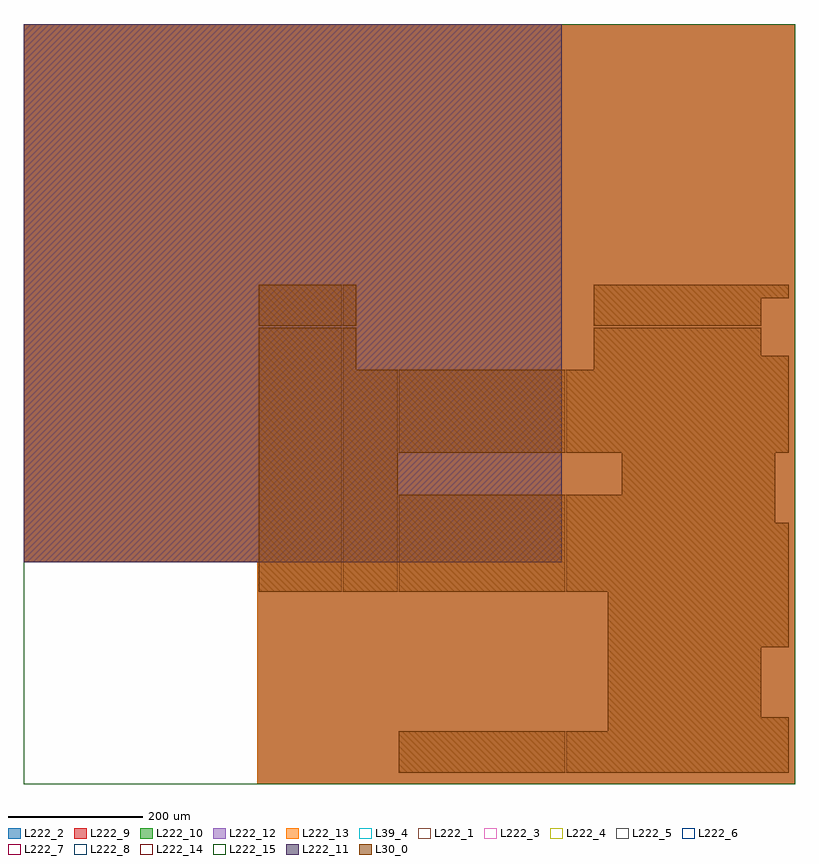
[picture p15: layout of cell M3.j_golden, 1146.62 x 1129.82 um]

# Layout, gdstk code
import gdstk
lib = gdstk.Library(unit=1e-6, precision=1e-09)
def R(c, l, rs):  # rectangles x0, y0, x1, y1
    for r in rs: c.add(gdstk.rectangle(r[:2], r[2:], *l))
L30_0 = (30, 0)
L39_4 = (39, 4)
L222_1 = (222, 1)
L222_2 = (222, 2)
L222_3 = (222, 3)
L222_4 = (222, 4)
L222_5 = (222, 5)
L222_6 = (222, 6)
L222_7 = (222, 7)
L222_8 = (222, 8)
L222_9 = (222, 9)
L222_10 = (222, 10)
L222_11 = (222, 11)
L222_12 = (222, 12)
L222_13 = (222, 13)
L222_14 = (222, 14)
L222_15 = (222, 15)

m3_j_golden = lib.new_cell('M3.j_golden')
R(m3_j_golden, L30_0, [(556.97,16.93,576.97,36.93), (577.6,16.93,597.6,36.93), (598.34,16.93,618.34,36.93), (618.97,16.93,638.97,36.93), (640.07,16.93,660.07,36.93), (660.7,16.93,680.7,36.93), (681.38,16.93,701.38,36.93), (702.01,16.93,722.01,36.93), (723.11,16.93,743.11,36.93), (743.74,16.93,763.74,36.93), (764.48,16.93,784.48,36.93), (785.11,16.93,805.11,36.93), (806.21,16.93,826.21,36.93), (826.84,16.93,846.84,36.93), (847.45,16.93,867.45,36.93), (868.08,16.93,888.08,36.93), (889.18,16.93,909.18,36.93), (909.81,16.93,929.81,36.93), (930.55,16.93,950.55,36.93), (951.18,16.93,971.18,36.93), (972.28,16.93,992.28,36.93), (992.91,16.93,1012.91,36.93), (1013.62,16.93,1033.62,36.93), (1034.25,16.93,1054.25,36.93), (1055.35,16.93,1075.35,36.93), (1075.98,16.93,1095.98,36.93), (1096.72,16.93,1116.72,36.93), (1117.35,16.93,1137.35,36.93), (556.97,37.65,576.97,57.65), (577.6,37.65,597.6,57.65), (598.34,37.65,618.34,57.65), (618.97,37.65,638.97,57.65), (640.07,37.65,660.07,57.65), (660.7,37.65,680.7,57.65), (681.38,37.65,701.38,57.65), (702.01,37.65,722.01,57.65), (723.11,37.65,743.11,57.65), (743.74,37.65,763.74,57.65), (764.48,37.65,784.48,57.65), (785.11,37.65,805.11,57.65), (806.21,37.65,826.21,57.65), (826.84,37.65,846.84,57.65), (847.45,37.65,867.45,57.65), (868.08,37.65,888.08,57.65), (889.18,37.65,909.18,57.65), (909.81,37.65,929.81,57.65), (930.55,37.65,950.55,57.65), (951.18,37.65,971.18,57.65), (972.28,37.65,992.28,57.65), (992.91,37.65,1012.91,57.65), (1013.62,37.65,1033.62,57.65), (1034.25,37.65,1054.25,57.65), (1055.35,37.65,1075.35,57.65), (1075.98,37.65,1095.98,57.65), (1096.72,37.65,1116.72,57.65), (1117.35,37.65,1137.35,57.65), (556.97,58.28,576.97,78.28), (577.6,58.28,597.6,78.28), (598.34,58.28,618.34,78.28), (618.97,58.28,638.97,78.28), (640.07,58.28,660.07,78.28), (660.7,58.28,680.7,78.28), (681.38,58.28,701.38,78.28), (702.01,58.28,722.01,78.28), (723.11,58.28,743.11,78.28), (743.74,58.28,763.74,78.28), (764.48,58.28,784.48,78.28), (785.11,58.28,805.11,78.28), (806.21,58.28,826.21,78.28), (826.84,58.28,846.84,78.28), (847.45,58.28,867.45,78.28), (868.08,58.28,888.08,78.28), (889.18,58.28,909.18,78.28), (909.81,58.28,929.81,78.28), (930.55,58.28,950.55,78.28), (951.18,58.28,971.18,78.28), (972.28,58.28,992.28,78.28), (992.91,58.28,1012.91,78.28), (1013.62,58.28,1033.62,78.28), (1034.25,58.28,1054.25,78.28), (1055.35,58.28,1075.35,78.28), (1075.98,58.28,1095.98,78.28), (1096.72,58.28,1116.72,78.28), (1117.35,58.28,1137.35,78.28), (868.08,79,888.08,99), (889.18,79,909.18,99), (909.81,79,929.81,99), (930.55,79,950.55,99), (951.18,79,971.18,99), (972.28,79,992.28,99), (992.91,79,1012.91,99), (1013.62,79,1033.62,99), (1034.25,79,1054.25,99), (1055.35,79,1075.35,99), (1075.98,79,1095.98,99), (1096.72,79,1116.72,99), (1117.35,79,1137.35,99), (868.08,99.71,888.08,119.71), (889.18,99.71,909.18,119.71), (909.81,99.71,929.81,119.71), (930.55,99.71,950.55,119.71), (951.18,99.71,971.18,119.71), (972.28,99.71,992.28,119.71), (992.91,99.71,1012.91,119.71), (1013.62,99.71,1033.62,119.71), (1034.25,99.71,1054.25,119.71), (1055.35,99.71,1075.35,119.71), (1075.98,99.71,1095.98,119.71), (868.08,120.43,888.08,140.43), (889.18,120.43,909.18,140.43), (909.81,120.43,929.81,140.43), (930.55,120.43,950.55,140.43), (951.18,120.43,971.18,140.43), (972.28,120.43,992.28,140.43), (992.91,120.43,1012.91,140.43), (1013.62,120.43,1033.62,140.43), (1034.25,120.43,1054.25,140.43), (1055.35,120.43,1075.35,140.43), (1075.98,120.43,1095.98,140.43), (868.08,141.06,888.08,161.06), (889.18,141.06,909.18,161.06), (909.81,141.06,929.81,161.06), (930.55,141.06,950.55,161.06), (951.18,141.06,971.18,161.06), (972.28,141.06,992.28,161.06), (992.91,141.06,1012.91,161.06), (1013.62,141.06,1033.62,161.06), (1034.25,141.06,1054.25,161.06), (1055.35,141.06,1075.35,161.06), (1075.98,141.06,1095.98,161.06), (868.08,161.78,888.08,181.78), (889.18,161.78,909.18,181.78), (909.81,161.78,929.81,181.78), (930.55,161.78,950.55,181.78), (951.18,161.78,971.18,181.78), (972.28,161.78,992.28,181.78), (992.91,161.78,1012.91,181.78), (1013.62,161.78,1033.62,181.78), (1034.25,161.78,1054.25,181.78), (1055.35,161.78,1075.35,181.78), (1075.98,161.78,1095.98,181.78), (868.08,182.39,888.08,202.39), (889.18,182.39,909.18,202.39), (909.81,182.39,929.81,202.39), (930.55,182.39,950.55,202.39), (951.18,182.39,971.18,202.39), (972.28,182.39,992.28,202.39), (992.91,182.39,1012.91,202.39), (1013.62,182.39,1033.62,202.39), (1034.25,182.39,1054.25,202.39), (1055.35,182.39,1075.35,202.39), (1075.98,182.39,1095.98,202.39), (868.08,203.11,888.08,223.11), (889.18,203.11,909.18,223.11), (909.81,203.11,929.81,223.11), (930.55,203.11,950.55,223.11), (951.18,203.11,971.18,223.11), (972.28,203.11,992.28,223.11), (992.91,203.11,1012.91,223.11), (1013.62,203.11,1033.62,223.11), (1034.25,203.11,1054.25,223.11), (1055.35,203.11,1075.35,223.11), (1075.98,203.11,1095.98,223.11), (1096.72,203.11,1116.72,223.11), (1117.35,203.11,1137.35,223.11), (868.08,223.74,888.08,243.74), (889.18,223.74,909.18,243.74), (909.81,223.74,929.81,243.74), (930.55,223.74,950.55,243.74), (951.18,223.74,971.18,243.74), (972.28,223.74,992.28,243.74), (992.91,223.74,1012.91,243.74), (1013.62,223.74,1033.62,243.74), (1034.25,223.74,1054.25,243.74), (1055.35,223.74,1075.35,243.74), (1075.98,223.74,1095.98,243.74), (1096.72,223.74,1116.72,243.74), (1117.35,223.74,1137.35,243.74), (868.08,244.46,888.08,264.46), (889.18,244.46,909.18,264.46), (909.81,244.46,929.81,264.46), (930.55,244.46,950.55,264.46), (951.18,244.46,971.18,264.46), (972.28,244.46,992.28,264.46), (992.91,244.46,1012.91,264.46), (1013.62,244.46,1033.62,264.46), (1034.25,244.46,1054.25,264.46), (1055.35,244.46,1075.35,264.46), (1075.98,244.46,1095.98,264.46), (1096.72,244.46,1116.72,264.46), (1117.35,244.46,1137.35,264.46), (868.08,265.17,888.08,285.17), (889.18,265.17,909.18,285.17), (909.81,265.17,929.81,285.17), (930.55,265.17,950.55,285.17), (951.18,265.17,971.18,285.17), (972.28,265.17,992.28,285.17), (992.91,265.17,1012.91,285.17), (1013.62,265.17,1033.62,285.17), (1034.25,265.17,1054.25,285.17), (1055.35,265.17,1075.35,285.17), (1075.98,265.17,1095.98,285.17), (1096.72,265.17,1116.72,285.17), (1117.35,265.17,1137.35,285.17), (349.17,285.89,369.17,305.89), (369.8,285.89,389.8,305.89), (390.9,285.89,410.9,305.89), (411.53,285.89,431.53,305.89), (432.27,285.89,452.27,305.89), (452.9,285.89,472.9,305.89), (474,285.89,494,305.89), (494.63,285.89,514.63,305.89), (515.24,285.89,535.24,305.89), (535.87,285.89,555.87,305.89), (556.97,285.89,576.97,305.89), (577.6,285.89,597.6,305.89), (598.34,285.89,618.34,305.89), (618.97,285.89,638.97,305.89), (640.07,285.89,660.07,305.89), (660.7,285.89,680.7,305.89), (681.38,285.89,701.38,305.89), (702.01,285.89,722.01,305.89), (723.11,285.89,743.11,305.89), (743.74,285.89,763.74,305.89), (764.48,285.89,784.48,305.89), (785.11,285.89,805.11,305.89), (806.21,285.89,826.21,305.89), (826.84,285.89,846.84,305.89), (847.45,285.89,867.45,305.89), (868.08,285.89,888.08,305.89), (889.18,285.89,909.18,305.89), (909.81,285.89,929.81,305.89), (930.55,285.89,950.55,305.89), (951.18,285.89,971.18,305.89), (972.28,285.89,992.28,305.89), (992.91,285.89,1012.91,305.89), (1013.62,285.89,1033.62,305.89), (1034.25,285.89,1054.25,305.89), (1055.35,285.89,1075.35,305.89), (1075.98,285.89,1095.98,305.89), (1096.72,285.89,1116.72,305.89), (1117.35,285.89,1137.35,305.89), (349.17,306.52,369.17,326.52), (369.8,306.52,389.8,326.52), (390.9,306.52,410.9,326.52), (411.53,306.52,431.53,326.52), (432.27,306.52,452.27,326.52), (452.9,306.52,472.9,326.52), (474,306.52,494,326.52), (494.63,306.52,514.63,326.52), (515.24,306.52,535.24,326.52), (535.87,306.52,555.87,326.52), (556.97,306.52,576.97,326.52), (577.6,306.52,597.6,326.52), (598.34,306.52,618.34,326.52), (618.97,306.52,638.97,326.52), (640.07,306.52,660.07,326.52), (660.7,306.52,680.7,326.52), (681.38,306.52,701.38,326.52), (702.01,306.52,722.01,326.52), (723.11,306.52,743.11,326.52), (743.74,306.52,763.74,326.52), (764.48,306.52,784.48,326.52), (785.11,306.52,805.11,326.52), (806.21,306.52,826.21,326.52), (826.84,306.52,846.84,326.52), (847.45,306.52,867.45,326.52), (868.08,306.52,888.08,326.52), (889.18,306.52,909.18,326.52), (909.81,306.52,929.81,326.52), (930.55,306.52,950.55,326.52), (951.18,306.52,971.18,326.52), (972.28,306.52,992.28,326.52), (992.91,306.52,1012.91,326.52), (1013.62,306.52,1033.62,326.52), (1034.25,306.52,1054.25,326.52), (1055.35,306.52,1075.35,326.52), (1075.98,306.52,1095.98,326.52), (1096.72,306.52,1116.72,326.52), (1117.35,306.52,1137.35,326.52), (349.17,327.24,369.17,347.24), (369.8,327.24,389.8,347.24), (390.9,327.24,410.9,347.24), (411.53,327.24,431.53,347.24), (432.27,327.24,452.27,347.24), (452.9,327.24,472.9,347.24), (474,327.24,494,347.24), (494.63,327.24,514.63,347.24), (515.24,327.24,535.24,347.24), (535.87,327.24,555.87,347.24), (556.97,327.24,576.97,347.24), (577.6,327.24,597.6,347.24), (598.34,327.24,618.34,347.24), (618.97,327.24,638.97,347.24), (640.07,327.24,660.07,347.24), (660.7,327.24,680.7,347.24), (681.38,327.24,701.38,347.24), (702.01,327.24,722.01,347.24), (723.11,327.24,743.11,347.24), (743.74,327.24,763.74,347.24), (764.48,327.24,784.48,347.24), (785.11,327.24,805.11,347.24), (806.21,327.24,826.21,347.24), (826.84,327.24,846.84,347.24), (847.45,327.24,867.45,347.24), (868.08,327.24,888.08,347.24), (889.18,327.24,909.18,347.24), (909.81,327.24,929.81,347.24), (930.55,327.24,950.55,347.24), (951.18,327.24,971.18,347.24), (972.28,327.24,992.28,347.24), (992.91,327.24,1012.91,347.24), (1013.62,327.24,1033.62,347.24), (1034.25,327.24,1054.25,347.24), (1055.35,327.24,1075.35,347.24), (1075.98,327.24,1095.98,347.24), (1096.72,327.24,1116.72,347.24), (1117.35,327.24,1137.35,347.24), (349.17,347.86,369.17,367.86), (369.8,347.86,389.8,367.86), (390.9,347.86,410.9,367.86), (411.53,347.86,431.53,367.86), (432.27,347.86,452.27,367.86), (452.9,347.86,472.9,367.86), (474,347.86,494,367.86), (494.63,347.86,514.63,367.86), (515.24,347.86,535.24,367.86), (535.87,347.86,555.87,367.86), (556.97,347.86,576.97,367.86), (577.6,347.86,597.6,367.86), (598.34,347.86,618.34,367.86), (618.97,347.86,638.97,367.86), (640.07,347.86,660.07,367.86), (660.7,347.86,680.7,367.86), (681.38,347.86,701.38,367.86), (702.01,347.86,722.01,367.86), (723.11,347.86,743.11,367.86), (743.74,347.86,763.74,367.86), (764.48,347.86,784.48,367.86), (785.11,347.86,805.11,367.86), (806.21,347.86,826.21,367.86), (826.84,347.86,846.84,367.86), (847.45,347.86,867.45,367.86), (868.08,347.86,888.08,367.86), (889.18,347.86,909.18,367.86), (909.81,347.86,929.81,367.86), (930.55,347.86,950.55,367.86), (951.18,347.86,971.18,367.86), (972.28,347.86,992.28,367.86), (992.91,347.86,1012.91,367.86), (1013.62,347.86,1033.62,367.86), (1034.25,347.86,1054.25,367.86), (1055.35,347.86,1075.35,367.86), (1075.98,347.86,1095.98,367.86), (1096.72,347.86,1116.72,367.86), (1117.35,347.86,1137.35,367.86), (349.17,368.58,369.17,388.58), (369.8,368.58,389.8,388.58), (390.9,368.58,410.9,388.58), (411.53,368.58,431.53,388.58), (432.27,368.58,452.27,388.58), (452.9,368.58,472.9,388.58), (474,368.58,494,388.58), (494.63,368.58,514.63,388.58), (515.24,368.58,535.24,388.58), (535.87,368.58,555.87,388.58), (556.97,368.58,576.97,388.58), (577.6,368.58,597.6,388.58), (598.34,368.58,618.34,388.58), (618.97,368.58,638.97,388.58), (640.07,368.58,660.07,388.58), (660.7,368.58,680.7,388.58), (681.38,368.58,701.38,388.58), (702.01,368.58,722.01,388.58), (723.11,368.58,743.11,388.58), (743.74,368.58,763.74,388.58), (764.48,368.58,784.48,388.58), (785.11,368.58,805.11,388.58), (806.21,368.58,826.21,388.58), (826.84,368.58,846.84,388.58), (847.45,368.58,867.45,388.58), (868.08,368.58,888.08,388.58), (889.18,368.58,909.18,388.58), (909.81,368.58,929.81,388.58), (930.55,368.58,950.55,388.58), (951.18,368.58,971.18,388.58), (972.28,368.58,992.28,388.58), (992.91,368.58,1012.91,388.58), (1013.62,368.58,1033.62,388.58), (1034.25,368.58,1054.25,388.58), (1055.35,368.58,1075.35,388.58), (1075.98,368.58,1095.98,388.58), (1096.72,368.58,1116.72,388.58), (1117.35,368.58,1137.35,388.58), (349.17,389.21,369.17,409.21), (369.8,389.21,389.8,409.21), (390.9,389.21,410.9,409.21), (411.53,389.21,431.53,409.21), (432.27,389.21,452.27,409.21), (452.9,389.21,472.9,409.21), (474,389.21,494,409.21), (494.63,389.21,514.63,409.21), (515.24,389.21,535.24,409.21), (535.87,389.21,555.87,409.21), (556.97,389.21,576.97,409.21), (577.6,389.21,597.6,409.21), (598.34,389.21,618.34,409.21), (618.97,389.21,638.97,409.21), (640.07,389.21,660.07,409.21), (660.7,389.21,680.7,409.21), (681.38,389.21,701.38,409.21), (702.01,389.21,722.01,409.21), (723.11,389.21,743.11,409.21), (743.74,389.21,763.74,409.21), (764.48,389.21,784.48,409.21), (785.11,389.21,805.11,409.21), (806.21,389.21,826.21,409.21), (826.84,389.21,846.84,409.21), (847.45,389.21,867.45,409.21), (868.08,389.21,888.08,409.21), (889.18,389.21,909.18,409.21), (909.81,389.21,929.81,409.21), (930.55,389.21,950.55,409.21), (951.18,389.21,971.18,409.21), (972.28,389.21,992.28,409.21), (992.91,389.21,1012.91,409.21), (1013.62,389.21,1033.62,409.21), (1034.25,389.21,1054.25,409.21), (1055.35,389.21,1075.35,409.21), (1075.98,389.21,1095.98,409.21), (1096.72,389.21,1116.72,409.21), (349.17,409.93,369.17,429.93), (369.8,409.93,389.8,429.93), (390.9,409.93,410.9,429.93), (411.53,409.93,431.53,429.93), (432.27,409.93,452.27,429.93), (452.9,409.93,472.9,429.93), (474,409.93,494,429.93), (494.63,409.93,514.63,429.93), (515.24,409.93,535.24,429.93), (535.87,409.93,555.87,429.93), (556.97,409.93,576.97,429.93), (577.6,409.93,597.6,429.93), (598.34,409.93,618.34,429.93), (618.97,409.93,638.97,429.93), (640.07,409.93,660.07,429.93), (660.7,409.93,680.7,429.93), (681.38,409.93,701.38,429.93), (702.01,409.93,722.01,429.93), (723.11,409.93,743.11,429.93), (743.74,409.93,763.74,429.93), (764.48,409.93,784.48,429.93), (785.11,409.93,805.11,429.93), (806.21,409.93,826.21,429.93), (826.84,409.93,846.84,429.93), (847.45,409.93,867.45,429.93), (868.08,409.93,888.08,429.93), (889.18,409.93,909.18,429.93), (909.81,409.93,929.81,429.93), (930.55,409.93,950.55,429.93), (951.18,409.93,971.18,429.93), (972.28,409.93,992.28,429.93), (992.91,409.93,1012.91,429.93), (1013.62,409.93,1033.62,429.93), (1034.25,409.93,1054.25,429.93), (1055.35,409.93,1075.35,429.93), (1075.98,409.93,1095.98,429.93), (1096.72,409.93,1116.72,429.93), (349.17,430.64,369.17,450.64), (369.8,430.64,389.8,450.64), (390.9,430.64,410.9,450.64), (411.53,430.64,431.53,450.64), (432.27,430.64,452.27,450.64), (452.9,430.64,472.9,450.64), (474,430.64,494,450.64), (494.63,430.64,514.63,450.64), (515.24,430.64,535.24,450.64), (535.87,430.64,555.87,450.64), (889.18,430.64,909.18,450.64), (909.81,430.64,929.81,450.64), (930.55,430.64,950.55,450.64), (951.18,430.64,971.18,450.64), (972.28,430.64,992.28,450.64), (992.91,430.64,1012.91,450.64), (1013.62,430.64,1033.62,450.64), (1034.25,430.64,1054.25,450.64), (1055.35,430.64,1075.35,450.64), (1075.98,430.64,1095.98,450.64), (1096.72,430.64,1116.72,450.64), (349.17,451.36,369.17,471.36), (369.8,451.36,389.8,471.36), (390.9,451.36,410.9,471.36), (411.53,451.36,431.53,471.36), (432.27,451.36,452.27,471.36), (452.9,451.36,472.9,471.36), (474,451.36,494,471.36), (494.63,451.36,514.63,471.36), (515.24,451.36,535.24,471.36), (535.87,451.36,555.87,471.36), (889.18,451.36,909.18,471.36), (909.81,451.36,929.81,471.36), (930.55,451.36,950.55,471.36), (951.18,451.36,971.18,471.36), (972.28,451.36,992.28,471.36), (992.91,451.36,1012.91,471.36), (1013.62,451.36,1033.62,471.36), (1034.25,451.36,1054.25,471.36), (1055.35,451.36,1075.35,471.36), (1075.98,451.36,1095.98,471.36), (1096.72,451.36,1116.72,471.36), (349.17,471.99,369.17,491.99), (369.8,471.99,389.8,491.99), (390.9,471.99,410.9,491.99), (411.53,471.99,431.53,491.99), (432.27,471.99,452.27,491.99), (452.9,471.99,472.9,491.99), (474,471.99,494,491.99), (494.63,471.99,514.63,491.99), (515.24,471.99,535.24,491.99), (535.87,471.99,555.87,491.99), (889.18,471.99,909.18,491.99), (909.81,471.99,929.81,491.99), (930.55,471.99,950.55,491.99), (951.18,471.99,971.18,491.99), (972.28,471.99,992.28,491.99), (992.91,471.99,1012.91,491.99), (1013.62,471.99,1033.62,491.99), (1034.25,471.99,1054.25,491.99), (1055.35,471.99,1075.35,491.99), (1075.98,471.99,1095.98,491.99), (1096.72,471.99,1116.72,491.99), (349.17,492.71,369.17,512.71), (369.8,492.71,389.8,512.71), (390.9,492.71,410.9,512.71), (411.53,492.71,431.53,512.71), (432.27,492.71,452.27,512.71), (452.9,492.71,472.9,512.71), (474,492.71,494,512.71), (494.63,492.71,514.63,512.71), (515.24,492.71,535.24,512.71), (535.87,492.71,555.87,512.71), (556.97,492.71,576.97,512.71), (577.6,492.71,597.6,512.71), (598.34,492.71,618.34,512.71), (618.97,492.71,638.97,512.71), (640.07,492.71,660.07,512.71), (660.7,492.71,680.7,512.71), (681.38,492.71,701.38,512.71), (702.01,492.71,722.01,512.71), (723.11,492.71,743.11,512.71), (743.74,492.71,763.74,512.71), (764.48,492.71,784.48,512.71), (785.11,492.71,805.11,512.71), (806.21,492.71,826.21,512.71), (826.84,492.71,846.84,512.71), (847.45,492.71,867.45,512.71), (868.08,492.71,888.08,512.71), (889.18,492.71,909.18,512.71), (909.81,492.71,929.81,512.71), (930.55,492.71,950.55,512.71), (951.18,492.71,971.18,512.71), (972.28,492.71,992.28,512.71), (992.91,492.71,1012.91,512.71), (1013.62,492.71,1033.62,512.71), (1034.25,492.71,1054.25,512.71), (1055.35,492.71,1075.35,512.71), (1075.98,492.71,1095.98,512.71), (1096.72,492.71,1116.72,512.71), (1117.35,492.71,1137.35,512.71), (349.17,513.32,369.17,533.32), (369.8,513.32,389.8,533.32), (390.9,513.32,410.9,533.32), (411.53,513.32,431.53,533.32), (432.27,513.32,452.27,533.32), (452.9,513.32,472.9,533.32), (474,513.32,494,533.32), (494.63,513.32,514.63,533.32), (515.24,513.32,535.24,533.32), (535.87,513.32,555.87,533.32), (556.97,513.32,576.97,533.32), (577.6,513.32,597.6,533.32), (598.34,513.32,618.34,533.32), (618.97,513.32,638.97,533.32), (640.07,513.32,660.07,533.32), (660.7,513.32,680.7,533.32), (681.38,513.32,701.38,533.32), (702.01,513.32,722.01,533.32), (723.11,513.32,743.11,533.32), (743.74,513.32,763.74,533.32), (764.48,513.32,784.48,533.32), (785.11,513.32,805.11,533.32), (806.21,513.32,826.21,533.32), (826.84,513.32,846.84,533.32), (847.45,513.32,867.45,533.32), (868.08,513.32,888.08,533.32), (889.18,513.32,909.18,533.32), (909.81,513.32,929.81,533.32), (930.55,513.32,950.55,533.32), (951.18,513.32,971.18,533.32), (972.28,513.32,992.28,533.32), (992.91,513.32,1012.91,533.32), (1013.62,513.32,1033.62,533.32), (1034.25,513.32,1054.25,533.32), (1055.35,513.32,1075.35,533.32), (1075.98,513.32,1095.98,533.32), (1096.72,513.32,1116.72,533.32), (1117.35,513.32,1137.35,533.32), (349.17,534.04,369.17,554.04), (369.8,534.04,389.8,554.04), (390.9,534.04,410.9,554.04), (411.53,534.04,431.53,554.04), (432.27,534.04,452.27,554.04), (452.9,534.04,472.9,554.04), (474,534.04,494,554.04), (494.63,534.04,514.63,554.04), (515.24,534.04,535.24,554.04), (535.87,534.04,555.87,554.04), (556.97,534.04,576.97,554.04), (577.6,534.04,597.6,554.04), (598.34,534.04,618.34,554.04), (618.97,534.04,638.97,554.04), (640.07,534.04,660.07,554.04), (660.7,534.04,680.7,554.04), (681.38,534.04,701.38,554.04), (702.01,534.04,722.01,554.04), (723.11,534.04,743.11,554.04), (743.74,534.04,763.74,554.04), (764.48,534.04,784.48,554.04), (785.11,534.04,805.11,554.04), (806.21,534.04,826.21,554.04), (826.84,534.04,846.84,554.04), (847.45,534.04,867.45,554.04), (868.08,534.04,888.08,554.04), (889.18,534.04,909.18,554.04), (909.81,534.04,929.81,554.04), (930.55,534.04,950.55,554.04), (951.18,534.04,971.18,554.04), (972.28,534.04,992.28,554.04), (992.91,534.04,1012.91,554.04), (1013.62,534.04,1033.62,554.04), (1034.25,534.04,1054.25,554.04), (1055.35,534.04,1075.35,554.04), (1075.98,534.04,1095.98,554.04), (1096.72,534.04,1116.72,554.04), (1117.35,534.04,1137.35,554.04), (349.17,554.67,369.17,574.67), (369.8,554.67,389.8,574.67), (390.9,554.67,410.9,574.67), (411.53,554.67,431.53,574.67), (432.27,554.67,452.27,574.67), (452.9,554.67,472.9,574.67), (474,554.67,494,574.67), (494.63,554.67,514.63,574.67), (515.24,554.67,535.24,574.67), (535.87,554.67,555.87,574.67), (556.97,554.67,576.97,574.67), (577.6,554.67,597.6,574.67), (598.34,554.67,618.34,574.67), (618.97,554.67,638.97,574.67), (640.07,554.67,660.07,574.67), (660.7,554.67,680.7,574.67), (681.38,554.67,701.38,574.67), (702.01,554.67,722.01,574.67), (723.11,554.67,743.11,574.67), (743.74,554.67,763.74,574.67), (764.48,554.67,784.48,574.67), (785.11,554.67,805.11,574.67), (806.21,554.67,826.21,574.67), (826.84,554.67,846.84,574.67), (847.45,554.67,867.45,574.67), (868.08,554.67,888.08,574.67), (889.18,554.67,909.18,574.67), (909.81,554.67,929.81,574.67), (930.55,554.67,950.55,574.67), (951.18,554.67,971.18,574.67), (972.28,554.67,992.28,574.67), (992.91,554.67,1012.91,574.67), (1013.62,554.67,1033.62,574.67), (1034.25,554.67,1054.25,574.67), (1055.35,554.67,1075.35,574.67), (1075.98,554.67,1095.98,574.67), (1096.72,554.67,1116.72,574.67), (1117.35,554.67,1137.35,574.67), (349.17,575.39,369.17,595.39), (369.8,575.39,389.8,595.39), (390.9,575.39,410.9,595.39), (411.53,575.39,431.53,595.39), (432.27,575.39,452.27,595.39), (452.9,575.39,472.9,595.39), (474,575.39,494,595.39), (494.63,575.39,514.63,595.39), (515.24,575.39,535.24,595.39), (535.87,575.39,555.87,595.39), (556.97,575.39,576.97,595.39), (577.6,575.39,597.6,595.39), (598.34,575.39,618.34,595.39), (618.97,575.39,638.97,595.39), (640.07,575.39,660.07,595.39), (660.7,575.39,680.7,595.39), (681.38,575.39,701.38,595.39), (702.01,575.39,722.01,595.39), (723.11,575.39,743.11,595.39), (743.74,575.39,763.74,595.39), (764.48,575.39,784.48,595.39), (785.11,575.39,805.11,595.39), (806.21,575.39,826.21,595.39), (826.84,575.39,846.84,595.39), (847.45,575.39,867.45,595.39), (868.08,575.39,888.08,595.39), (889.18,575.39,909.18,595.39), (909.81,575.39,929.81,595.39), (930.55,575.39,950.55,595.39), (951.18,575.39,971.18,595.39), (972.28,575.39,992.28,595.39), (992.91,575.39,1012.91,595.39), (1013.62,575.39,1033.62,595.39), (1034.25,575.39,1054.25,595.39), (1055.35,575.39,1075.35,595.39), (1075.98,575.39,1095.98,595.39), (1096.72,575.39,1116.72,595.39), (1117.35,575.39,1137.35,595.39), (349.17,596.1,369.17,616.1), (369.8,596.1,389.8,616.1), (390.9,596.1,410.9,616.1), (411.53,596.1,431.53,616.1), (432.27,596.1,452.27,616.1), (452.9,596.1,472.9,616.1), (474,596.1,494,616.1), (494.63,596.1,514.63,616.1), (515.24,596.1,535.24,616.1), (535.87,596.1,555.87,616.1), (556.97,596.1,576.97,616.1), (577.6,596.1,597.6,616.1), (598.34,596.1,618.34,616.1), (618.97,596.1,638.97,616.1), (640.07,596.1,660.07,616.1), (660.7,596.1,680.7,616.1), (681.38,596.1,701.38,616.1), (702.01,596.1,722.01,616.1), (723.11,596.1,743.11,616.1), (743.74,596.1,763.74,616.1), (764.48,596.1,784.48,616.1), (785.11,596.1,805.11,616.1), (806.21,596.1,826.21,616.1), (826.84,596.1,846.84,616.1), (847.45,596.1,867.45,616.1), (868.08,596.1,888.08,616.1), (889.18,596.1,909.18,616.1), (909.81,596.1,929.81,616.1), (930.55,596.1,950.55,616.1), (951.18,596.1,971.18,616.1), (972.28,596.1,992.28,616.1), (992.91,596.1,1012.91,616.1), (1013.62,596.1,1033.62,616.1), (1034.25,596.1,1054.25,616.1), (1055.35,596.1,1075.35,616.1), (1075.98,596.1,1095.98,616.1), (1096.72,596.1,1116.72,616.1), (1117.35,596.1,1137.35,616.1), (349.17,616.82,369.17,636.82), (369.8,616.82,389.8,636.82), (390.9,616.82,410.9,636.82), (411.53,616.82,431.53,636.82), (432.27,616.82,452.27,636.82), (452.9,616.82,472.9,636.82), (474,616.82,494,636.82), (847.45,616.82,867.45,636.82), (868.08,616.82,888.08,636.82), (889.18,616.82,909.18,636.82), (909.81,616.82,929.81,636.82), (930.55,616.82,950.55,636.82), (951.18,616.82,971.18,636.82), (972.28,616.82,992.28,636.82), (992.91,616.82,1012.91,636.82), (1013.62,616.82,1033.62,636.82), (1034.25,616.82,1054.25,636.82), (1055.35,616.82,1075.35,636.82), (1075.98,616.82,1095.98,636.82), (1096.72,616.82,1116.72,636.82), (1117.35,616.82,1137.35,636.82), (349.17,637.45,369.17,657.45), (369.8,637.45,389.8,657.45), (390.9,637.45,410.9,657.45), (411.53,637.45,431.53,657.45), (432.27,637.45,452.27,657.45), (452.9,637.45,472.9,657.45), (474,637.45,494,657.45), (847.45,637.45,867.45,657.45), (868.08,637.45,888.08,657.45), (889.18,637.45,909.18,657.45), (909.81,637.45,929.81,657.45), (930.55,637.45,950.55,657.45), (951.18,637.45,971.18,657.45), (972.28,637.45,992.28,657.45), (992.91,637.45,1012.91,657.45), (1013.62,637.45,1033.62,657.45), (1034.25,637.45,1054.25,657.45), (1055.35,637.45,1075.35,657.45), (1075.98,637.45,1095.98,657.45), (349.17,658.17,369.17,678.17), (369.8,658.17,389.8,678.17), (390.9,658.17,410.9,678.17), (411.53,658.17,431.53,678.17), (432.27,658.17,452.27,678.17), (452.9,658.17,472.9,678.17), (474,658.17,494,678.17), (847.45,658.17,867.45,678.17), (868.08,658.17,888.08,678.17), (889.18,658.17,909.18,678.17), (909.81,658.17,929.81,678.17), (930.55,658.17,950.55,678.17), (951.18,658.17,971.18,678.17), (972.28,658.17,992.28,678.17), (992.91,658.17,1012.91,678.17), (1013.62,658.17,1033.62,678.17), (1034.25,658.17,1054.25,678.17), (1055.35,658.17,1075.35,678.17), (1075.98,658.17,1095.98,678.17), (349.17,681,369.17,701), (369.8,681,389.8,701), (390.9,681,410.9,701), (411.53,681,431.53,701), (432.27,681,452.27,701), (452.9,681,472.9,701), (474,681,494,701), (847.45,681,867.45,701), (868.08,681,888.08,701), (889.18,681,909.18,701), (909.81,681,929.81,701), (930.55,681,950.55,701), (951.18,681,971.18,701), (972.28,681,992.28,701), (992.91,681,1012.91,701), (1013.62,681,1033.62,701), (1034.25,681,1054.25,701), (1055.35,681,1075.35,701), (1075.98,681,1095.98,701), (349.17,701.72,369.17,721.72), (369.8,701.72,389.8,721.72), (390.9,701.72,410.9,721.72), (411.53,701.72,431.53,721.72), (432.27,701.72,452.27,721.72), (452.9,701.72,472.9,721.72), (474,701.72,494,721.72), (847.45,701.72,867.45,721.72), (868.08,701.72,888.08,721.72), (889.18,701.72,909.18,721.72), (909.81,701.72,929.81,721.72), (930.55,701.72,950.55,721.72), (951.18,701.72,971.18,721.72), (972.28,701.72,992.28,721.72), (992.91,701.72,1012.91,721.72), (1013.62,701.72,1033.62,721.72), (1034.25,701.72,1054.25,721.72), (1055.35,701.72,1075.35,721.72), (1075.98,701.72,1095.98,721.72), (349.17,722.35,369.17,742.35), (369.8,722.35,389.8,742.35), (390.9,722.35,410.9,742.35), (411.53,722.35,431.53,742.35), (432.27,722.35,452.27,742.35), (452.9,722.35,472.9,742.35), (474,722.35,494,742.35), (847.45,722.35,867.45,742.35), (868.08,722.35,888.08,742.35), (889.18,722.35,909.18,742.35), (909.81,722.35,929.81,742.35), (930.55,722.35,950.55,742.35), (951.18,722.35,971.18,742.35), (972.28,722.35,992.28,742.35), (992.91,722.35,1012.91,742.35), (1013.62,722.35,1033.62,742.35), (1034.25,722.35,1054.25,742.35), (1055.35,722.35,1075.35,742.35), (1075.98,722.35,1095.98,742.35), (1096.72,722.35,1116.72,742.35), (1117.35,722.35,1137.35,742.35)])
R(m3_j_golden, L39_4, [(0,0,1146.62,1129.82)])
R(m3_j_golden, L222_1, [(0,0,1146.62,1129.82)])
R(m3_j_golden, L222_2, [(346.62,0,1146.62,800), (0,329.82,800,1129.82), (346.62,329.82,1146.62,1129.82)])
R(m3_j_golden, L222_3, [(0,0,1146.62,1129.82)])
R(m3_j_golden, L222_4, [(0,0,1146.62,1129.82)])
R(m3_j_golden, L222_5, [(0,0,1146.62,1129.82)])
R(m3_j_golden, L222_6, [(0,0,1146.62,1129.82)])
R(m3_j_golden, L222_7, [(0,0,1146.62,1129.82)])
R(m3_j_golden, L222_8, [(0,0,1146.62,1129.82)])
R(m3_j_golden, L222_9, [(346.62,0,1146.62,800), (0,329.82,800,1129.82), (346.62,329.82,1146.62,1129.82)])
R(m3_j_golden, L222_10, [(346.62,0,1146.62,800), (0,329.82,800,1129.82), (346.62,329.82,1146.62,1129.82)])
R(m3_j_golden, L222_11, [(0,329.82,800,1129.82)])
R(m3_j_golden, L222_12, [(346.62,0,1146.62,800), (0,329.82,800,1129.82), (346.62,329.82,1146.62,1129.82)])
R(m3_j_golden, L222_13, [(346.62,0,1146.62,800), (0,329.82,800,1129.82), (346.62,329.82,1146.62,1129.82)])
R(m3_j_golden, L222_14, [(0,0,1146.62,1129.82)])
R(m3_j_golden, L222_15, [(0,0,1146.62,1129.82)])

lib.write_gds('M3.j_golden.gds')
